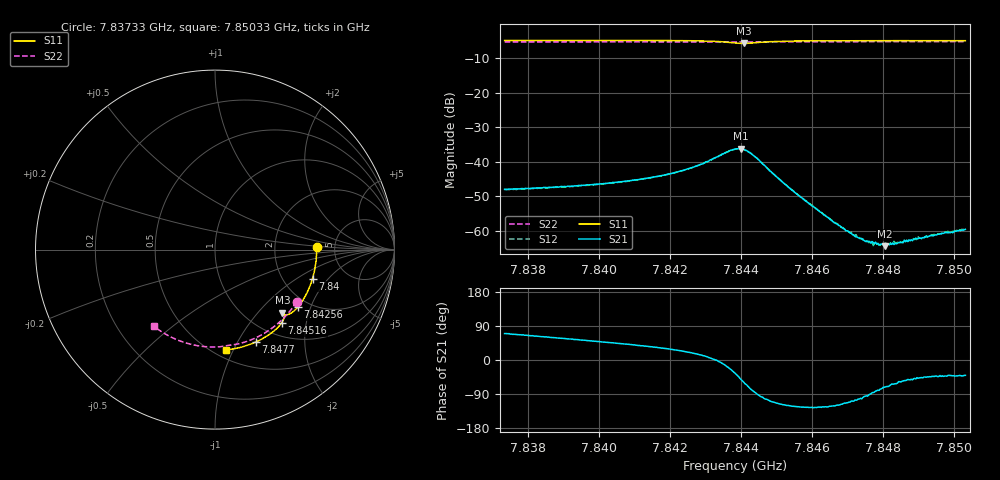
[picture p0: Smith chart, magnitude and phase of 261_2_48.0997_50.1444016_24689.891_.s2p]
#  HZ  S  RI  R  50.00
! Rohde & Schwarz Vector Network Analyzer
! Rohde-Schwarz,ZNB20-2Port,1311601062101988,3.16
! Created: UTC 12/23/2023, 4:00:46 AM
! freq[Hz]  re:S11  im:S11  re:S21  im:S21  re:S12  im:S12  re:S22  im:S22
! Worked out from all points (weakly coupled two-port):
!   401 points, 7.83733 GHz to 7.85033 GHz, reference 50 ohm
!   highest |S21| = -36.25 dB at 7.84399 GHz (marker M1); lowest = -64.5 dB at 7.84806 GHz (marker M2)
!   lowest |S11| = -5.8 dB at 7.84409 GHz (marker M3), VSWR 3.11, Z = 71.8 - j68.4 ohm
!   |S11| at or under -10 dB: nowhere
!   |S22| runs from -5.4 to -5.3 dB; largest |S21 - S12| = 0.00029
!   S11 on the Smith chart (normalised r, x): 7.83733 GHz: 3.61, +0.15; 7.84 GHz: 2.89, -1.38; 7.84256 GHz: 1.74, -1.63; 7.84516 GHz: 1.23, -1.45; 7.8477 GHz: 0.80, -1.20; 7.85033 GHz: 0.57, -0.93
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7.83733e9  0.5662 0.014  0.00137 0.00374  0.00143 0.00366  0.4555 -0.2896
7.839508e9  0.5519 -0.13  0.00276 0.00361  0.00276 0.00359  0.357 -0.4058
7.839996e9  0.5433 -0.1618  0.00313 0.00357  0.00309 0.00354  0.3308 -0.4277
7.840776e9  0.5258 -0.2117  0.00389 0.00347  0.00383 0.00345  0.2861 -0.4592
7.841686e9  0.4981 -0.2681  0.00522 0.00331  0.00519 0.0033  0.2301 -0.4901
7.842563e9  0.4617 -0.3204  0.00756 0.00271  0.00752 0.00269  0.1726 -0.5131
7.843344e9  0.4137 -0.3591  0.0118 -0.000471  0.0117 -0.000492  0.1197 -0.5271
7.843831e9  0.3781 -0.3592  0.0125 -0.0087  0.0125 -0.00858  0.087 -0.532
7.843994e9  0.3745 -0.3533  0.00973 -0.0119  0.00981 -0.0117  0.0768 -0.5333
7.844091e9  0.3757 -0.3505  0.00751 -0.013  0.00752 -0.0128  0.0708 -0.5343
7.844416e9  0.3854 -0.3587  0.000623 -0.0115  0.000567 -0.0116  0.0497 -0.538
7.845164e9  0.3706 -0.4095  -0.00235 -0.00455  -0.00234 -0.00454  -0.00266 -0.5428
7.846009e9  0.328 -0.4538  -0.0013 -0.00186  -0.00134 -0.00192  -0.0625 -0.5401
7.846594e9  0.295 -0.478  -0.000703 -0.00116  -0.000749 -0.00116  -0.1032 -0.5344
7.847179e9  0.2607 -0.4985  -0.00028 -0.000828  -0.000277 -0.000813  -0.1433 -0.5253
7.847504e9  0.2411 -0.5084  -6.93e-05 -0.000702  -8e-05 -0.000701  -0.165 -0.519
7.847699e9  0.2291 -0.514  4.79e-05 -0.000698  1.04e-05 -0.000691  -0.1783 -0.5149
7.847797e9  0.223 -0.5166  9.2e-05 -0.000678  6.11e-05 -0.000624  -0.1847 -0.5125
7.848057e9  0.2068 -0.5236  0.000184 -0.000569  0.000219 -0.000623  -0.2019 -0.5062
7.848187e9  0.1988 -0.5269  0.00023 -0.000583  0.000244 -0.000588  -0.2103 -0.5029
7.849779e9  0.0962 -0.5542  0.000702 -0.000637  0.000707 -0.000627  -0.3087 -0.4503
7.850332e9  0.0597 -0.5594  0.000797 -0.000681  0.000804 -0.000691  -0.34 -0.4276
